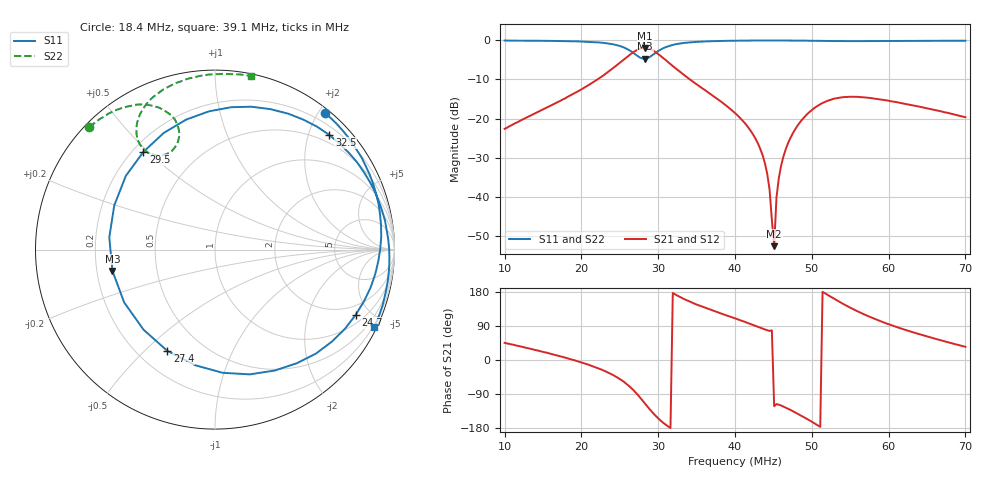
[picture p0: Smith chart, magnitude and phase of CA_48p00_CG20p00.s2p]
#  HZ  S  RI  R  50.00
! Rohde & Schwarz ZVT8 8Ports - Version 4.11 - 1300.0000k08 SN: 100242
! Date: 2026-07-31 15:06:06
! Measurements: S11 S21 S12 S22
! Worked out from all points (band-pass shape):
!   201 points, 10 MHz to 70 MHz, reference 50 ohm
!   highest |S21| = -1.97 dB at 28.3 MHz (marker M1); lowest = -52.6 dB at 45.1 MHz (marker M2)
!   |S21| within 3 dB of the highest: 25.47 MHz to 30.94 MHz (5.467 MHz wide, 19.4 % of centre)
!   lowest |S11| = -4.7 dB at 28.3 MHz (marker M3), VSWR 3.80, Z = 13.3 - j4.81 ohm
!   |S11| at or under -10 dB: nowhere
!   |S22| runs from -4.5 to 0.0 dB; largest |S21 - S12| = 0.003
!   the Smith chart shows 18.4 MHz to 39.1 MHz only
!   S11 on the Smith chart (normalised r, x): 18.4 MHz: 0.06, +2.09; 24.7 MHz: 1.42, -4.07; 27.4 MHz: 0.32, -0.59; 29.5 MHz: 0.24, +0.48; 32.5 MHz: 0.34, +2.37; 39.1 MHz: 0.12, -4.32
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1e7  -0.4009 0.912  0.052 0.0525  0.0516 0.0525  -0.9198 0.3829
1.84e7  0.6135 0.7618  0.1937 0.0104  0.1927 0.0107  -0.7001 0.6826
2.02e7  0.7911 0.5536  0.2405 -0.0323  0.2396 -0.0321  -0.6238 0.7375
2.47e7  0.7839 -0.3634  0.338 -0.3552  0.3384 -0.3527  -0.3378 0.7985
2.62e7  0.3329 -0.6738  0.2344 -0.601  0.2351 -0.5995  -0.2245 0.7263
2.74e7  -0.2658 -0.564  -0.0444 -0.7645  -0.0471 -0.7633  -0.2055 0.6026
2.83e7  -0.5711 -0.1195  -0.3416 -0.7203  -0.3411 -0.7195  -0.2728 0.5306
2.95e7  -0.3989 0.5447  -0.5836 -0.4271  -0.583 -0.4263  -0.3974 0.5587
3.01e7  -0.1604 0.7244  -0.6002 -0.2676  -0.5988 -0.2675  -0.4319 0.6134
3.25e7  0.637 0.6389  -0.4146 0.0739  -0.4145 0.0744  -0.3699 0.8259
3.52e7  0.9467 0.1632  -0.2175 0.1528  -0.2175 0.1525  -0.1665 0.9467
3.91e7  0.8879 -0.4339  -0.062 0.1257  -0.0617 0.1259  0.2029 0.967
4e7  0.8285 -0.5422  -0.04 0.1107  -0.0397 0.1105  0.2985 0.9437
4.39e7  0.4646 -0.8833  0.00437 0.0264  0.00424 0.0264  0.7433 0.6607
4.51e7  0.3307 -0.942  -0.00123 -0.00198  -0.00127 -0.00192  0.8677 0.4876
4.54e7  0.2952 -0.9526  -0.00432 -0.00872  -0.00423 -0.00859  0.894 0.4351
4.63e7  0.1889 -0.9792  -0.0177 -0.0273  -0.0177 -0.0273  0.9597 0.2601
5.02e7  -0.2608 -0.9545  -0.129 -0.0338  -0.1291 -0.0339  0.6954 -0.6966
5.35e7  -0.5818 -0.7887  -0.1664 0.0791  -0.1663 0.0788  -0.2353 -0.9463
5.65e7  -0.8046 -0.5584  -0.1031 0.1572  -0.1033 0.1567  -0.8276 -0.5173
6.01e7  -0.9599 -0.2047  -0.0113 0.1679  -0.0112 0.1673  -0.9774 0.0768
7e7  -0.6166 0.7761  0.0854 0.0594  0.0852 0.0592  -0.5093 0.85
